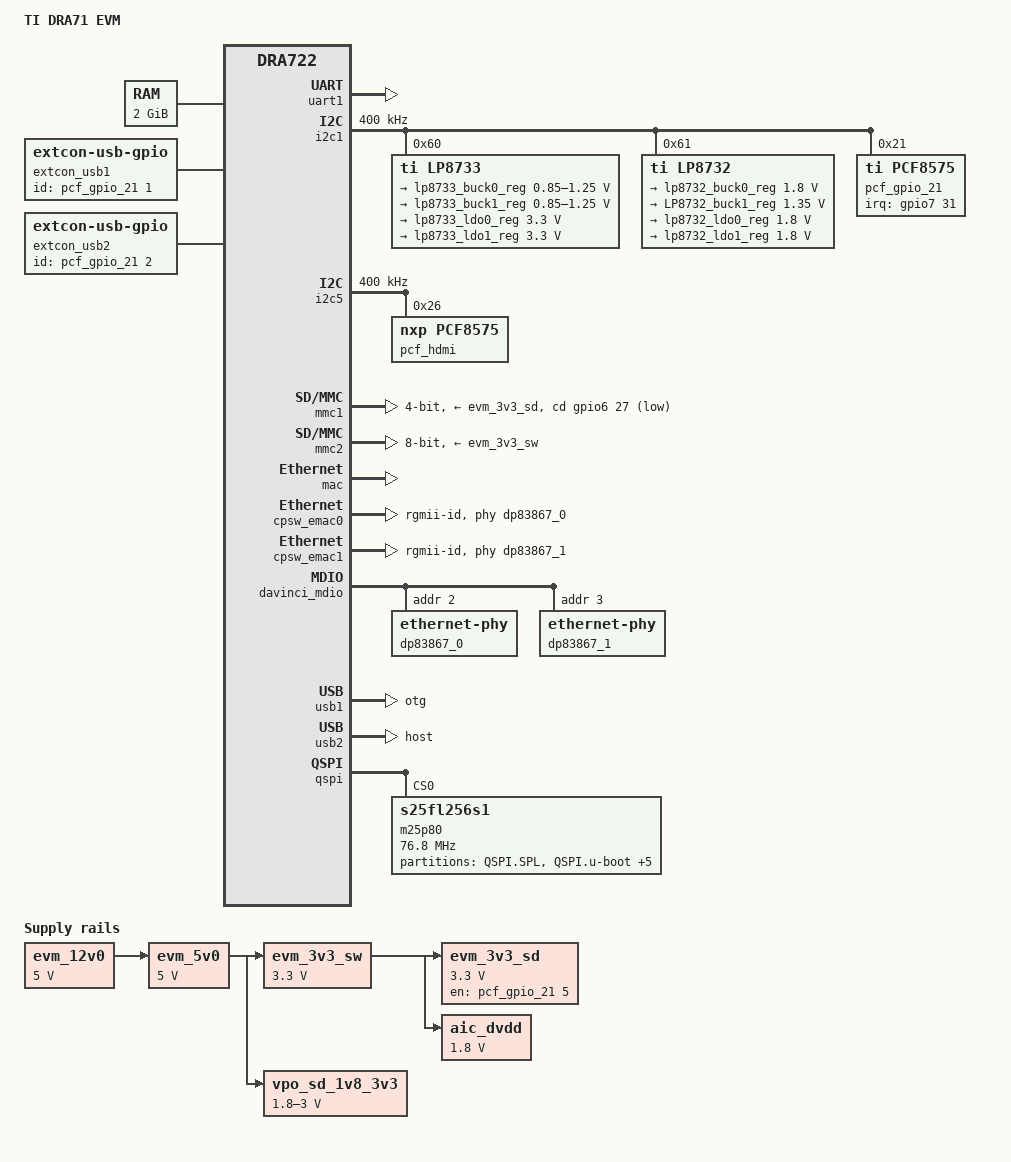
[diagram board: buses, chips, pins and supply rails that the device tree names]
/*
 * Copyright (C) 2016 Texas Instruments Incorporated - http://www.ti.com/
 *
 * This program is free software; you can redistribute it and/or modify
 * it under the terms of the GNU General Public License version 2 as
 * published by the Free Software Foundation.
 */
/dts-v1/;

#include "dra72x.dtsi"
#include <dt-bindings/gpio/gpio.h>
#include <dt-bindings/net/ti-dp83867.h>

/ {
	compatible = "ti,dra71-evm", "ti,dra71", "ti,dra722", "ti,dra72", "ti,dra7";
	model = "TI DRA71 EVM";

	chosen {
		stdout-path = &uart1;
		tick-timer = &timer2;
	};

	memory {
		device_type = "memory";
		reg = <0x0 0x80000000 0x0 0x80000000>; /* 2GB */
	};

	evm_12v0: fixedregulator-evm12v0 {
		/* main Supply */
		compatible = "regulator-fixed";
		regulator-name = "evm_12v0";
		regulator-min-microvolt = <5000000>;
		regulator-max-microvolt = <5000000>;
		regulator-always-on;
		regulator-boot-on;
	};

	evm_5v0: fixedregulator-evm5v0 {
		/* LM5140QRWGTQ1 */
		compatible = "regulator-fixed";
		regulator-name = "evm_5v0";
		regulator-min-microvolt = <5000000>;
		regulator-max-microvolt = <5000000>;
		vin-supply = <&evm_12v0>;
		regulator-always-on;
		regulator-boot-on;
	};

	/*
	 * NOTE: This is marked as evm_3v3 in schematics, but renamed as
	 * evm_3v3_sw to aid s/w compatibility of dtb for additional platforms
	 * such as JAMr etc with overlay OR dt support
	 */
	evm_3v3_sw: fixedregulator-evm3v3 {
		/* TPS2065D */
		compatible = "regulator-fixed";
		regulator-name = "evm_3v3";
		regulator-min-microvolt = <3300000>;
		regulator-max-microvolt = <3300000>;
		vin-supply = <&evm_5v0>;
		regulator-always-on;
		regulator-boot-on;
	};

	evm_3v3_sd: fixedregulator-sd {
		 /* TPS22965DSG */
		compatible = "regulator-fixed";
		regulator-name = "evm_3v3_sd";
		regulator-min-microvolt = <3300000>;
		regulator-max-microvolt = <3300000>;
		enable-active-high;
		gpio = <&pcf_gpio_21 5 GPIO_ACTIVE_HIGH>;
		vin-supply = <&evm_3v3_sw>;
	};

	vpo_sd_1v8_3v3: gpio-regulator-TPS74801 {
		compatible = "regulator-gpio";

		regulator-name = "vddshv8";
		regulator-min-microvolt = <1800000>;
		regulator-max-microvolt = <3000000>;
		regulator-boot-on;
		vin-supply = <&evm_5v0>;

		gpios = <&gpio7 11 GPIO_ACTIVE_HIGH>;
		states = <1800000 0x0
			  3000000 0x1>;
	};

	aic_dvdd: fixedregulator-aic_dvdd {
		/* TPS77018DBVT */
		compatible = "regulator-fixed";
		regulator-name = "aic_dvdd";
		vin-supply = <&evm_3v3_sw>;
		regulator-min-microvolt = <1800000>;
		regulator-max-microvolt = <1800000>;
	};

	extcon_usb1: extcon_usb1 {
		compatible = "linux,extcon-usb-gpio";
		id-gpio = <&pcf_gpio_21 1 GPIO_ACTIVE_HIGH>;
	};

	extcon_usb2: extcon_usb2 {
		compatible = "linux,extcon-usb-gpio";
		id-gpio = <&pcf_gpio_21 2 GPIO_ACTIVE_HIGH>;
	};
};

&rtc {
	status = "disabled";
};

&dra7_pmx_core {
	mmc1_pins_default: mmc1_pins_default {
		pinctrl-single,pins = <
			0x354 (PIN_INPUT_PULLUP | MUX_MODE0) /* mmc1_clk.clk */
			0x358 (PIN_INPUT_PULLUP | MUX_MODE0) /* mmc1_cmd.cmd */
			0x35c (PIN_INPUT_PULLUP | MUX_MODE0) /* mmc1_dat0.dat0 */
			0x360 (PIN_INPUT_PULLUP | MUX_MODE0) /* mmc1_dat1.dat1 */
			0x364 (PIN_INPUT_PULLUP | MUX_MODE0) /* mmc1_dat2.dat2 */
			0x368 (PIN_INPUT_PULLUP | MUX_MODE0) /* mmc1_dat3.dat3 */
		>;
	};

	mmc1_pins_sdr12: pinmux_mmc1_sdr12_pins {
		pinctrl-single,pins = <
			0x354 (PIN_INPUT_PULLUP | MUX_MODE0)	/* mmc1_clk.clk */
			0x358 (PIN_INPUT_PULLUP | MUX_MODE0)	/* mmc1_cmd.cmd */
			0x35c (PIN_INPUT_PULLUP | MUX_MODE0)	/* mmc1_dat0.dat0 */
			0x360 (PIN_INPUT_PULLUP | MUX_MODE0)	/* mmc1_dat1.dat1 */
			0x364 (PIN_INPUT_PULLUP | MUX_MODE0)	/* mmc1_dat2.dat2 */
			0x368 (PIN_INPUT_PULLUP | MUX_MODE0)	/* mmc1_dat3.dat3 */
		>;
	};

	mmc1_pins_hs: mmc1_pins_hs {
		pinctrl-single,pins = <
			0x354 (PIN_INPUT_PULLUP | MUX_MODE0) /* mmc1_clk.clk */
			0x358 (PIN_INPUT_PULLUP | MUX_MODE0) /* mmc1_cmd.cmd */
			0x35c (PIN_INPUT_PULLUP | MUX_MODE0) /* mmc1_dat0.dat0 */
			0x360 (PIN_INPUT_PULLUP | MUX_MODE0) /* mmc1_dat1.dat1 */
			0x364 (PIN_INPUT_PULLUP | MUX_MODE0) /* mmc1_dat2.dat2 */
			0x368 (PIN_INPUT_PULLUP | MUX_MODE0) /* mmc1_dat3.dat3 */
		>;
	};

	mmc1_pins_sdr25: pinmux_mmc1_sdr25_pins {
		pinctrl-single,pins = <
			0x354 (PIN_INPUT_PULLUP | MUX_MODE0)	/* mmc1_clk.clk */
			0x358 (PIN_INPUT_PULLUP | MUX_MODE0)	/* mmc1_cmd.cmd */
			0x35c (PIN_INPUT_PULLUP | MUX_MODE0)	/* mmc1_dat0.dat0 */
			0x360 (PIN_INPUT_PULLUP | MUX_MODE0)	/* mmc1_dat1.dat1 */
			0x364 (PIN_INPUT_PULLUP | MUX_MODE0)	/* mmc1_dat2.dat2 */
			0x368 (PIN_INPUT_PULLUP | MUX_MODE0)	/* mmc1_dat3.dat3 */
		>;
	};

	mmc1_pins_sdr50: pinmux_mmc1_sdr50_pins {
		pinctrl-single,pins = <
			0x354 (PIN_INPUT_PULLUP | MUX_VIRTUAL_MODE15 | MUX_MODE0)	/* mmc1_clk.clk */
			0x358 (PIN_INPUT_PULLUP | MUX_VIRTUAL_MODE15 | MUX_MODE0)	/* mmc1_cmd.cmd */
			0x35c (PIN_INPUT_PULLUP | MUX_VIRTUAL_MODE15 | MUX_MODE0)	/* mmc1_dat0.dat0 */
			0x360 (PIN_INPUT_PULLUP | MUX_VIRTUAL_MODE15 | MUX_MODE0)	/* mmc1_dat1.dat1 */
			0x364 (PIN_INPUT_PULLUP | MUX_VIRTUAL_MODE15 | MUX_MODE0)	/* mmc1_dat2.dat2 */
			0x368 (PIN_INPUT_PULLUP | MUX_VIRTUAL_MODE15 | MUX_MODE0)	/* mmc1_dat3.dat3 */
		>;
	};

	mmc1_pins_ddr50: pinmux_mmc1_ddr50_pins {
		pinctrl-single,pins = <
			0x354 (PIN_INPUT_PULLUP | MANUAL_MODE | MUX_MODE0)	/* mmc1_clk.clk */
			0x358 (PIN_INPUT_PULLUP | MANUAL_MODE | MUX_MODE0)	/* mmc1_cmd.cmd */
			0x35c (PIN_INPUT_PULLUP | MANUAL_MODE | MUX_MODE0)	/* mmc1_dat0.dat0 */
			0x360 (PIN_INPUT_PULLUP | MANUAL_MODE | MUX_MODE0)	/* mmc1_dat1.dat1 */
			0x364 (PIN_INPUT_PULLUP | MANUAL_MODE | MUX_MODE0)	/* mmc1_dat2.dat2 */
			0x368 (PIN_INPUT_PULLUP | MANUAL_MODE | MUX_MODE0)	/* mmc1_dat3.dat3 */
		>;
	};

	mmc1_pins_sdr104: pinmux_mmc1_sdr104_pins {
		pinctrl-single,pins = <
			0x354 (PIN_INPUT_PULLUP | MANUAL_MODE | MUX_MODE0)	/* mmc1_clk.clk */
			0x358 (PIN_INPUT_PULLUP | MANUAL_MODE | MUX_MODE0)	/* mmc1_cmd.cmd */
			0x35c (PIN_INPUT_PULLUP | MANUAL_MODE | MUX_MODE0)	/* mmc1_dat0.dat0 */
			0x360 (PIN_INPUT_PULLUP | MANUAL_MODE | MUX_MODE0)	/* mmc1_dat1.dat1 */
			0x364 (PIN_INPUT_PULLUP | MANUAL_MODE | MUX_MODE0)	/* mmc1_dat2.dat2 */
			0x368 (PIN_INPUT_PULLUP | MANUAL_MODE | MUX_MODE0)	/* mmc1_dat3.dat3 */
		>;
	};

	mmc2_pins_default: mmc2_pins_default {
		pinctrl-single,pins = <
			0x9c (PIN_INPUT_PULLUP | MUX_MODE1) /* gpmc_a23.mmc2_clk */
			0xb0 (PIN_INPUT_PULLUP | MUX_MODE1) /* gpmc_cs1.mmc2_cmd */
			0xa0 (PIN_INPUT_PULLUP | MUX_MODE1) /* gpmc_a24.mmc2_dat0 */
			0xa4 (PIN_INPUT_PULLUP | MUX_MODE1) /* gpmc_a25.mmc2_dat1 */
			0xa8 (PIN_INPUT_PULLUP | MUX_MODE1) /* gpmc_a26.mmc2_dat2 */
			0xac (PIN_INPUT_PULLUP | MUX_MODE1) /* gpmc_a27.mmc2_dat3 */
			0x8c (PIN_INPUT_PULLUP | MUX_MODE1) /* gpmc_a19.mmc2_dat4 */
			0x90 (PIN_INPUT_PULLUP | MUX_MODE1) /* gpmc_a20.mmc2_dat5 */
			0x94 (PIN_INPUT_PULLUP | MUX_MODE1) /* gpmc_a21.mmc2_dat6 */
			0x98 (PIN_INPUT_PULLUP | MUX_MODE1) /* gpmc_a22.mmc2_dat7 */
		>;
	};

	mmc2_pins_hs: mmc2_pins_hs {
		pinctrl-single,pins = <
			0x9c (PIN_INPUT_PULLUP | MUX_MODE1) /* gpmc_a23.mmc2_clk */
			0xb0 (PIN_INPUT_PULLUP | MUX_MODE1) /* gpmc_cs1.mmc2_cmd */
			0xa0 (PIN_INPUT_PULLUP | MUX_MODE1) /* gpmc_a24.mmc2_dat0 */
			0xa4 (PIN_INPUT_PULLUP | MUX_MODE1) /* gpmc_a25.mmc2_dat1 */
			0xa8 (PIN_INPUT_PULLUP | MUX_MODE1) /* gpmc_a26.mmc2_dat2 */
			0xac (PIN_INPUT_PULLUP | MUX_MODE1) /* gpmc_a27.mmc2_dat3 */
			0x8c (PIN_INPUT_PULLUP | MUX_MODE1) /* gpmc_a19.mmc2_dat4 */
			0x90 (PIN_INPUT_PULLUP | MUX_MODE1) /* gpmc_a20.mmc2_dat5 */
			0x94 (PIN_INPUT_PULLUP | MUX_MODE1) /* gpmc_a21.mmc2_dat6 */
			0x98 (PIN_INPUT_PULLUP | MUX_MODE1) /* gpmc_a22.mmc2_dat7 */
		>;
	};

	mmc2_pins_ddr_1_8v: mmc2_pins_ddr_1_8v {
		pinctrl-single,pins = <
			0x9c (PIN_INPUT_PULLUP | MANUAL_MODE | MUX_MODE1) /* gpmc_a23.mmc2_clk */
			0xb0 (PIN_INPUT_PULLUP | MANUAL_MODE | MUX_MODE1) /* gpmc_cs1.mmc2_cmd */
			0xa0 (PIN_INPUT_PULLUP | MANUAL_MODE | MUX_MODE1) /* gpmc_a24.mmc2_dat0 */
			0xa4 (PIN_INPUT_PULLUP | MANUAL_MODE | MUX_MODE1) /* gpmc_a25.mmc2_dat1 */
			0xa8 (PIN_INPUT_PULLUP | MANUAL_MODE | MUX_MODE1) /* gpmc_a26.mmc2_dat2 */
			0xac (PIN_INPUT_PULLUP | MANUAL_MODE | MUX_MODE1) /* gpmc_a27.mmc2_dat3 */
			0x8c (PIN_INPUT_PULLUP | MANUAL_MODE | MUX_MODE1) /* gpmc_a19.mmc2_dat4 */
			0x90 (PIN_INPUT_PULLUP | MANUAL_MODE | MUX_MODE1) /* gpmc_a20.mmc2_dat5 */
			0x94 (PIN_INPUT_PULLUP | MANUAL_MODE | MUX_MODE1) /* gpmc_a21.mmc2_dat6 */
			0x98 (PIN_INPUT_PULLUP | MANUAL_MODE | MUX_MODE1) /* gpmc_a22.mmc2_dat7 */
		>;
	};

	mmc2_pins_hs200_1_8v: mmc2_pins_hs200_1_8v {
		pinctrl-single,pins = <
			0x9c (PIN_INPUT_PULLUP | MANUAL_MODE | MUX_MODE1) /* gpmc_a23.mmc2_clk */
			0xb0 (PIN_INPUT_PULLUP | MANUAL_MODE | MUX_MODE1) /* gpmc_cs1.mmc2_cmd */
			0xa0 (PIN_INPUT_PULLUP | MANUAL_MODE | MUX_MODE1) /* gpmc_a24.mmc2_dat0 */
			0xa4 (PIN_INPUT_PULLUP | MANUAL_MODE | MUX_MODE1) /* gpmc_a25.mmc2_dat1 */
			0xa8 (PIN_INPUT_PULLUP | MANUAL_MODE | MUX_MODE1) /* gpmc_a26.mmc2_dat2 */
			0xac (PIN_INPUT_PULLUP | MANUAL_MODE | MUX_MODE1) /* gpmc_a27.mmc2_dat3 */
			0x8c (PIN_INPUT_PULLUP | MANUAL_MODE | MUX_MODE1) /* gpmc_a19.mmc2_dat4 */
			0x90 (PIN_INPUT_PULLUP | MANUAL_MODE | MUX_MODE1) /* gpmc_a20.mmc2_dat5 */
			0x94 (PIN_INPUT_PULLUP | MANUAL_MODE | MUX_MODE1) /* gpmc_a21.mmc2_dat6 */
			0x98 (PIN_INPUT_PULLUP | MANUAL_MODE | MUX_MODE1) /* gpmc_a22.mmc2_dat7 */
		>;
	};
};

&dra7_iodelay_core {
	mmc1_iodelay_ddr50_conf: mmc1_iodelay_ddr50_conf {
		pinctrl-single,pins = <
			0x618 (A_DELAY(0) | G_DELAY(0))		/* CFG_MMC1_CLK_IN */
			0x624 (A_DELAY(0) | G_DELAY(0))		/* CFG_MMC1_CMD_IN */
			0x630 (A_DELAY(495) | G_DELAY(0))	/* CFG_MMC1_DAT0_IN */
			0x63C (A_DELAY(116) | G_DELAY(0))	/* CFG_MMC1_DAT1_IN */
			0x648 (A_DELAY(117) | G_DELAY(0))	/* CFG_MMC1_DAT2_IN */
			0x654 (A_DELAY(32) | G_DELAY(0))	/* CFG_MMC1_DAT3_IN */
			0x620 (A_DELAY(1224) | G_DELAY(0))	/* CFG_MMC1_CLK_OUT */
			0x62C (A_DELAY(0) | G_DELAY(0))		/* CFG_MMC1_CMD_OUT */
			0x638 (A_DELAY(44) | G_DELAY(0))	/* CFG_MMC1_DAT0_OUT */
			0x644 (A_DELAY(64) | G_DELAY(0))	/* CFG_MMC1_DAT1_OUT */
			0x650 (A_DELAY(79) | G_DELAY(0))	/* CFG_MMC1_DAT2_OUT */
			0x65C (A_DELAY(87) | G_DELAY(0))	/* CFG_MMC1_DAT3_OUT */
			0x628 (A_DELAY(0) | G_DELAY(0))		/* CFG_MMC1_CMD_OEN */
			0x634 (A_DELAY(0) | G_DELAY(0))		/* CFG_MMC1_DAT0_OEN */
			0x640 (A_DELAY(0) | G_DELAY(0))		/* CFG_MMC1_DAT1_OEN */
			0x64C (A_DELAY(0) | G_DELAY(0))		/* CFG_MMC1_DAT2_OEN */
			0x658 (A_DELAY(0) | G_DELAY(0))		/* CFG_MMC1_DAT3_OEN */
		>;
	};

	mmc1_iodelay_sdr104_conf: mmc1_iodelay_sdr104_conf {
		pinctrl-single,pins = <
			0x620 (A_DELAY(520) | G_DELAY(320))	/* CFG_MMC1_CLK_OUT */
			0x62c (A_DELAY(0) | G_DELAY(0))		/* CFG_MMC1_CMD_OUT */
			0x638 (A_DELAY(40) | G_DELAY(0))	/* CFG_MMC1_DAT0_OUT */
			0x644 (A_DELAY(83) | G_DELAY(0))	/* CFG_MMC1_DAT1_OUT */
			0x650 (A_DELAY(98) | G_DELAY(0))	/* CFG_MMC1_DAT2_OUT */
			0x65c (A_DELAY(106) | G_DELAY(0))	/* CFG_MMC1_DAT3_OUT */
			0x628 (A_DELAY(51) | G_DELAY(0))	/* CFG_MMC1_CMD_OEN */
			0x634 (A_DELAY(0) | G_DELAY(0))		/* CFG_MMC1_DAT0_OEN */
			0x640 (A_DELAY(363) | G_DELAY(0))	/* CFG_MMC1_DAT1_OEN */
			0x64c (A_DELAY(199) | G_DELAY(0))	/* CFG_MMC1_DAT2_OEN */
			0x658 (A_DELAY(273) | G_DELAY(0))	/* CFG_MMC1_DAT3_OEN */
		>;
	};

	mmc2_iodelay_ddr_1_8v_conf: mmc2_iodelay_ddr_1_8v_conf {
		pinctrl-single,pins = <
			0x18c (A_DELAY(0) | G_DELAY(0))		/* CFG_GPMC_A19_IN */
			0x1a4 (A_DELAY(121) | G_DELAY(0))	/* CFG_GPMC_A20_IN */
			0x1b0 (A_DELAY(0) | G_DELAY(0))		/* CFG_GPMC_A21_IN */
			0x1bc (A_DELAY(20) | G_DELAY(0))	/* CFG_GPMC_A22_IN */
			0x1c8 (A_DELAY(108) | G_DELAY(0))	/* CFG_GPMC_A23_IN */
			0x1d4 (A_DELAY(31) | G_DELAY(0))	/* CFG_GPMC_A24_IN */
			0x1e0 (A_DELAY(0) | G_DELAY(0))		/* CFG_GPMC_A25_IN */
			0x1ec (A_DELAY(24) | G_DELAY(0))	/* CFG_GPMC_A26_IN */
			0x1f8 (A_DELAY(0) | G_DELAY(0))		/* CFG_GPMC_A27_IN */
			0x360 (A_DELAY(0) | G_DELAY(0))		/* CFG_GPMC_CS1_IN */
			0x194 (A_DELAY(152) | G_DELAY(0))	/* CFG_GPMC_A19_OUT */
			0x1ac (A_DELAY(206) | G_DELAY(0))	/* CFG_GPMC_A20_OUT */
			0x1b8 (A_DELAY(78) | G_DELAY(0))	/* CFG_GPMC_A21_OUT */
			0x1c4 (A_DELAY(2) | G_DELAY(0))		/* CFG_GPMC_A22_OUT */
			0x1d0 (A_DELAY(266) | G_DELAY(0))	/* CFG_GPMC_A23_OUT */
			0x1dc (A_DELAY(0) | G_DELAY(0))		/* CFG_GPMC_A24_OUT */
			0x1e8 (A_DELAY(0) | G_DELAY(0))		/* CFG_GPMC_A25_OUT */
			0x1f4 (A_DELAY(43) | G_DELAY(0))	/* CFG_GPMC_A26_OUT */
			0x200 (A_DELAY(0) | G_DELAY(0))		/* CFG_GPMC_A27_OUT */
			0x368 (A_DELAY(0) | G_DELAY(0))		/* CFG_GPMC_CS1_OUT */
			0x190 (A_DELAY(0) | G_DELAY(0))		/* CFG_GPMC_A19_OEN */
			0x1a8 (A_DELAY(0) | G_DELAY(0))		/* CFG_GPMC_A20_OEN */
			0x1b4 (A_DELAY(0) | G_DELAY(0))		/* CFG_GPMC_A21_OEN */
			0x1c0 (A_DELAY(0) | G_DELAY(0))		/* CFG_GPMC_A22_OEN */
			0x1d8 (A_DELAY(0) | G_DELAY(0))		/* CFG_GPMC_A24_OEN */
			0x1e4 (A_DELAY(0) | G_DELAY(0))		/* CFG_GPMC_A25_OEN */
			0x1f0 (A_DELAY(0) | G_DELAY(0))		/* CFG_GPMC_A26_OEN */
			0x1fc (A_DELAY(0) | G_DELAY(0))		/* CFG_GPMC_A27_OEN */
			0x364 (A_DELAY(0) | G_DELAY(0))		/* CFG_GPMC_CS1_OEN */
		>;
	};

	mmc2_iodelay_hs200_1_8v_conf: mmc2_iodelay_hs200_1_8v_conf {
		pinctrl-single,pins = <
			0x194 (A_DELAY(135) | G_DELAY(0))	/* CFG_GPMC_A19_OUT */
			0x1ac (A_DELAY(189) | G_DELAY(0))	/* CFG_GPMC_A20_OUT */
			0x1b8 (A_DELAY(0) | G_DELAY(120))	/* CFG_GPMC_A21_OUT */
			0x1c4 (A_DELAY(0) | G_DELAY(70))	/* CFG_GPMC_A22_OUT */
			0x1d0 (A_DELAY(730) | G_DELAY(360))	/* CFG_GPMC_A23_OUT */
			0x1dc (A_DELAY(0) | G_DELAY(0))		/* CFG_GPMC_A24_OUT */
			0x1e8 (A_DELAY(0) | G_DELAY(0))		/* CFG_GPMC_A25_OUT */
			0x1f4 (A_DELAY(70) | G_DELAY(0))	/* CFG_GPMC_A26_OUT */
			0x200 (A_DELAY(0) | G_DELAY(0))		/* CFG_GPMC_A27_OUT */
			0x368 (A_DELAY(0) | G_DELAY(120))	/* CFG_GPMC_CS1_OUT */
			0x190 (A_DELAY(0) | G_DELAY(0))		/* CFG_GPMC_A19_OEN */
			0x1a8 (A_DELAY(231) | G_DELAY(0))	/* CFG_GPMC_A20_OEN */
			0x1b4 (A_DELAY(39) | G_DELAY(0))	/* CFG_GPMC_A21_OEN */
			0x1c0 (A_DELAY(91) | G_DELAY(0))	/* CFG_GPMC_A22_OEN */
			0x1d8 (A_DELAY(176) | G_DELAY(0))	/* CFG_GPMC_A24_OEN */
			0x1e4 (A_DELAY(0) | G_DELAY(0))		/* CFG_GPMC_A25_OEN */
			0x1f0 (A_DELAY(101) | G_DELAY(0))	/* CFG_GPMC_A26_OEN */
			0x1fc (A_DELAY(0) | G_DELAY(0))		/* CFG_GPMC_A27_OEN */
			0x364 (A_DELAY(360) | G_DELAY(0))	/* CFG_GPMC_CS1_OEN */
		>;
	};
};

&uart1 {
	status = "okay";
	interrupts-extended = <&crossbar_mpu GIC_SPI 67 IRQ_TYPE_LEVEL_HIGH>,
			      <&dra7_pmx_core 0x3e0>;
};

&i2c1 {
	status = "okay";
	clock-frequency = <400000>;

	lp8733: lp8733@60 {
		compatible = "ti,lp8733";
		reg = <0x60>;

		lp8733_regulators: regulators {
			lp8733_buck0_reg: buck0 {
				/* FB_B0 -> LP8733-BUCK1 - VPO_S1_AVS - VDD_CORE_AVS (core, mpu, gpu) */
				regulator-name = "lp8733-buck0";
				regulator-min-microvolt = <850000>;
				regulator-max-microvolt = <1250000>;
				regulator-always-on;
				regulator-boot-on;
				/* Vin - TBD */
			};

			lp8733_buck1_reg: buck1 {
				/* FB_B1 -> LP8733-BUCK2 - VPO_S2_AVS - VDD_DSP_AVS (DSP/eve/iva) */
				regulator-name = "lp8733-buck1";
				regulator-min-microvolt = <850000>;
				regulator-max-microvolt = <1250000>;
				regulator-boot-on;
				regulator-always-on;
				/* Vin - TBD */
			};

			lp8733_ldo0_reg: ldo0 {
				/* LDO0 -> LP8733-LDO1 - VPO_L1_3V3 - VDDSHV8 (optional) */
				regulator-name = "lp8733-ldo0";
				regulator-min-microvolt = <3300000>;
				regulator-max-microvolt = <3300000>;
				/* Vin - TBD */
			};

			lp8733_ldo1_reg: ldo1 {
				/* LDO1 -> LP8733-LDO2 - VPO_L2_3V3 - VDDA_USB3V3 */
				regulator-name = "lp8733-ldo1";
				regulator-min-microvolt = <3300000>;
				regulator-max-microvolt = <3300000>;
				regulator-always-on;
				regulator-boot-on;
				/* Vin - TBD */
			};
		};
	};

	lp8732: lp8732@61 {
		compatible = "ti,lp8732";
		reg = <0x61>;

		lp8732_regulators: regulators {
			lp8732_buck0_reg: buck0 {
				/* FB_B0 -> LP8732-BUCK1 - VPO_S3_1V8 - VDDS_1V8 */
				regulator-name = "lp8732-buck0";
				regulator-min-microvolt = <1800000>;
				regulator-max-microvolt = <1800000>;
				regulator-always-on;
				regulator-boot-on;
				/* Vin - TBD */
			};

			LP8732_buck1_reg: buck1 {
				/* FB_B1 -> LP8732-BUCK2 - VPO_S4_DDR - VDD_DDR_1V35 */
				regulator-name = "lp8732-buck1";
				regulator-min-microvolt = <1350000>;
				regulator-max-microvolt = <1350000>;
				regulator-boot-on;
				regulator-always-on;
				/* Vin - TBD */
			};

			lp8732_ldo0_reg: ldo0 {
				/* LDO0 -> LP8732-LDO1 - VPO_L3_1V8 - VDA_1V8_PLL */
				regulator-name = "lp8732-ldo0";
				regulator-min-microvolt = <1800000>;
				regulator-max-microvolt = <1800000>;
				regulator-boot-on;
				regulator-always-on;
				/* Vin - TBD */
			};

			lp8732_ldo1_reg: ldo1 {
				/* LDO1 -> LP8732-LDO2 - VPO_L4_1V8 - VDA_1V8_PHY */
				regulator-name = "lp8732-ldo1";
				regulator-min-microvolt = <1800000>;
				regulator-max-microvolt = <1800000>;
				regulator-always-on;
				regulator-boot-on;
				/* Vin - TBD */
			};
		};
	};

	pcf_gpio_21: gpio@21 {
		compatible = "ti,pcf8575";
		reg = <0x21>;
		lines-initial-states = <0x1408>;
		gpio-controller;
		#gpio-cells = <2>;

		interrupt-controller;
		#interrupt-cells = <2>;
		interrupt-parent = <&gpio7>;
		interrupts = <31 IRQ_TYPE_EDGE_FALLING>;
	};

};

&i2c5 {
	status = "okay";
	clock-frequency = <400000>;

	pcf_hdmi: pcf8575@26 {
		compatible = "nxp,pcf8575";
		reg = <0x26>;
		gpio-controller;
		#gpio-cells = <2>;
		/*
		 * initial state is used here to keep the mdio interface
		 * selected on RU89 through SEL_VIN4_MUX_S0, VIN2_S1 and
		 * VIN2_S0 driven high otherwise Ethernet stops working
		 * VIN6_SEL_S0 is low, thus selecting McASP3 over VIN6
		 */
		lines-initial-states = <0x0f2b>;

		p0 {
			/*
			 * PM_OEn to High: Disable routing I2C3 to PM_I2C
			 * With this PM_SEL(p3) should not matter
			 */
			gpio-hog;
			gpios = <0 GPIO_ACTIVE_LOW>;
			output-high;
			line-name = "pm_oe_n";
		};
		p1 {
			/* vin6_sel_s0: high: VIN6, low: audio */
			gpio-hog;
			gpios = <1 GPIO_ACTIVE_HIGH>;
			output-low;
			line-name = "vin6_sel_s0";
		};
	};
};

&mmc1 {
	/* Disabled due to kernel crash */
	status = "okay";
	pinctrl-names = "default", "hs", "sdr12", "sdr25", "sdr50", "ddr50", "sdr104";
	pinctrl-0 = <&mmc1_pins_default>;
	pinctrl-1 = <&mmc1_pins_hs>;
	pinctrl-2 = <&mmc1_pins_sdr12>;
	pinctrl-3 = <&mmc1_pins_sdr25>;
	pinctrl-4 = <&mmc1_pins_sdr50>;
	pinctrl-5 = <&mmc1_pins_ddr50 &mmc1_iodelay_ddr50_conf>;
	pinctrl-6 = <&mmc1_pins_sdr104 &mmc1_iodelay_sdr104_conf>;
	bus-width = <4>;
	/*
	 * SDCD signal is not being used here - using the fact that GPIO mode
	 * is a viable alternative
	 */
	cd-gpios = <&gpio6 27 GPIO_ACTIVE_LOW>;
	max-frequency = <192000000>;

	vmmc-supply = <&evm_3v3_sd>;
	vmmc_aux-supply = <&vpo_sd_1v8_3v3>;
};

&mmc2 {
	/* SW8-3 in ON position */
	status = "okay";
	pinctrl-names = "default", "hs", "ddr_1_8v", "hs200_1_8v";
	pinctrl-0 = <&mmc2_pins_default>;
	pinctrl-1 = <&mmc2_pins_hs>;
	pinctrl-2 = <&mmc2_pins_ddr_1_8v &mmc2_iodelay_ddr_1_8v_conf>;
	pinctrl-3 = <&mmc2_pins_hs200_1_8v &mmc2_iodelay_hs200_1_8v_conf>;

	bus-width = <8>;
	ti,non-removable;
	max-frequency = <192000000>;
	vmmc-supply = <&evm_3v3_sw>;
};

&mac {
	status = "okay";
	mode-gpios = <&pcf_gpio_21 4 GPIO_ACTIVE_LOW>,
		     <&pcf_hdmi 9 GPIO_ACTIVE_LOW>,	/* P11 */
		     <&pcf_hdmi 10 GPIO_ACTIVE_LOW>;	/* P12 */
	dual_emac;
};

&cpsw_emac0 {
	phy-handle = <&dp83867_0>;
	phy-mode = "rgmii-id";
	dual_emac_res_vlan = <1>;
};

&cpsw_emac1 {
	phy-handle = <&dp83867_1>;
	phy-mode = "rgmii-id";
	dual_emac_res_vlan = <2>;
};

&davinci_mdio {
	dp83867_0: ethernet-phy@2 {
		reg = <2>;
		ti,rx-internal-delay = <DP83867_RGMIIDCTL_2_25_NS>;
		ti,tx-internal-delay = <DP83867_RGMIIDCTL_250_PS>;
		ti,fifo-depth = <DP83867_PHYCR_FIFO_DEPTH_8_B_NIB>;
		ti,impedance-control = <0x1f>;
	};

		   /* NOTE: eth1 is not functional yet */
	dp83867_1: ethernet-phy@3 {
		reg = <3>;
		ti,rx-internal-delay = <DP83867_RGMIIDCTL_2_25_NS>;
		ti,tx-internal-delay = <DP83867_RGMIIDCTL_250_PS>;
		ti,fifo-depth = <DP83867_PHYCR_FIFO_DEPTH_8_B_NIB>;
		ti,impedance-control = <0x1f>;
	};
};

&usb2_phy1 {
	phy-supply = <&lp8733_ldo1_reg>;
};

&usb2_phy2 {
	phy-supply = <&lp8733_ldo1_reg>;
};

&omap_dwc3_1 {
	extcon = <&extcon_usb1>;
};

&omap_dwc3_2 {
	extcon = <&extcon_usb2>;
};

&usb1 {
	dr_mode = "otg";
};

&usb2 {
	dr_mode = "host";
};

&qspi {
	status = "okay";

	spi-max-frequency = <64000000>;
	m25p80@0 {
		compatible = "s25fl256s1", "spi-flassh";
		spi-max-frequency = <76800000>;
		reg = <0>;
		spi-tx-bus-width = <1>;
		spi-rx-bus-width = <4>;
		#address-cells = <1>;
		#size-cells = <1>;

		/* MTD partition table.
		 * The ROM checks the first four physical blocks
		 * for a valid file to boot and the flash here is
		 * 64KiB block size.
		 */
		partition@0 {
			label = "QSPI.SPL";
			reg = <0x00000000 0x000040000>;
		};
		partition@1 {
			label = "QSPI.u-boot";
			reg = <0x00040000 0x00100000>;
		};
		partition@2 {
			label = "QSPI.u-boot-spl-os";
			reg = <0x00140000 0x00080000>;
		};
		partition@3 {
			label = "QSPI.u-boot-env";
			reg = <0x001c0000 0x00010000>;
		};
		partition@4 {
			label = "QSPI.u-boot-env.backup1";
			reg = <0x001d0000 0x0010000>;
		};
		partition@5 {
			label = "QSPI.kernel";
			reg = <0x001e0000 0x0800000>;
		};
		partition@6 {
			label = "QSPI.file-system";
			reg = <0x009e0000 0x01620000>;
		};
	};
};
